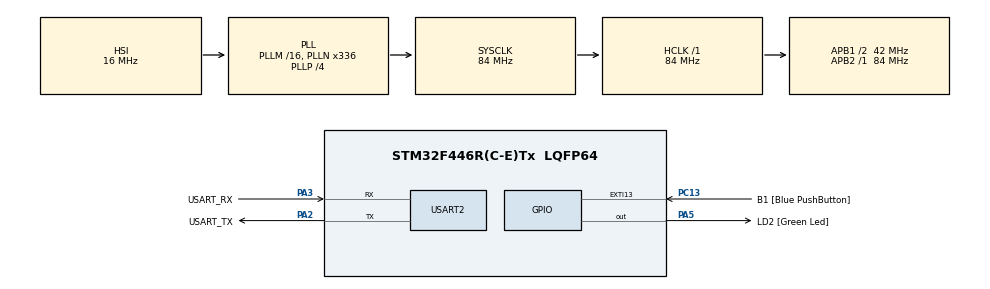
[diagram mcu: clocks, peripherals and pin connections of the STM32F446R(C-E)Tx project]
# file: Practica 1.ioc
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Mcu.Family=STM32F4
Mcu.Name=STM32F446R(C-E)Tx
Mcu.Package=LQFP64
NVIC.PriorityGroup=NVIC_PRIORITYGROUP_0
PA13.GPIO_Label=TMS
PA13.Mode=Serial_Wire
PA13.Signal=SYS_JTMS-SWDIO
PA14.GPIO_Label=TCK
PA14.Mode=Serial_Wire
PA14.Signal=SYS_JTCK-SWCLK
PA2.GPIO_Label=USART_TX
PA2.Mode=Asynchronous
PA2.Signal=USART2_TX
PA3.GPIO_Label=USART_RX
PA3.Mode=Asynchronous
PA3.Signal=USART2_RX
PA5.GPIO_Label=LD2 [Green Led]
PA5.Signal=GPIO_Output
PB3.GPIO_Label=SWO
PB3.Signal=SYS_JTDO-SWO
PC13.GPIO_Label=B1 [Blue PushButton]
PC13.GPIO_ModeDefaultEXTI=GPIO_MODE_IT_FALLING
PC13.Signal=GPXTI13
PC14-OSC32_IN.Mode=LSE-External-Oscillator
PC14-OSC32_IN.Signal=RCC_OSC32_IN
PC15-OSC32_OUT.Mode=LSE-External-Oscillator
PC15-OSC32_OUT.Signal=RCC_OSC32_OUT
PH0-OSC_IN.Mode=HSE-External-Oscillator
PH0-OSC_IN.Signal=RCC_OSC_IN
PH1-OSC_OUT.Mode=HSE-External-Oscillator
PH1-OSC_OUT.Signal=RCC_OSC_OUT
ProjectManager.HeapSize=0x200
ProjectManager.StackSize=0x400
ProjectManager.TargetToolchain=STM32CubeIDE
RCC.48MHZClocksFreq_Value=84000000
RCC.AHBFreq_Value=84000000
RCC.APB1CLKDivider=RCC_HCLK_DIV2
RCC.APB1Freq_Value=42000000
RCC.APB1TimFreq_Value=84000000
RCC.APB2Freq_Value=84000000
RCC.APB2TimFreq_Value=84000000
RCC.CortexFreq_Value=84000000
RCC.FLatency-AdvancedSettings=FLASH_LATENCY_2
RCC.HCLKFreq_Value=84000000
RCC.HSE_VALUE=8000000
RCC.HSI_VALUE=16000000
RCC.PLLN=336
RCC.PLLP=RCC_PLLP_DIV4
RCC.SYSCLKFreq_VALUE=84000000
RCC.SYSCLKSource=RCC_SYSCLKSOURCE_PLLCLK
RCC.USBFreq_Value=168000000
RCC.VCOOutputFreq_Value=336000000
USART2.VirtualMode=VM_ASYNC
board=NUCLEO-F446RE

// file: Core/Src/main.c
/* USER CODE BEGIN Header */
/**
  ******************************************************************************
  * @file           : main.c
  * @brief          : Main program body
  ******************************************************************************
  * @attention
  *
  * Copyright (c) 2025 STMicroelectronics.
  * All rights reserved.
  *
  * This software is licensed under terms that can be found in the LICENSE file
  * in the root directory of this software component.
  * If no LICENSE file comes with this software, it is provided AS-IS.
  *
  ******************************************************************************
  */
/* USER CODE END Header */
#include "main.h"

UART_HandleTypeDef huart2;

void SystemClock_Config(void);
static void MX_GPIO_Init(void);
static void MX_USART2_UART_Init(void);

int main(void)
{

  /* MCU Configuration--------------------------------------------------------*/

  /* Reset of all peripherals, Initializes the Flash interface and the Systick. */
  HAL_Init();

  /* Configure the system clock */
  SystemClock_Config();

  /* Initialize all configured peripherals */
  MX_GPIO_Init();
  MX_USART2_UART_Init();

  /* USER CODE BEGIN 2 */
  uint32_t tiempos[] = {200, 500};
  uint8_t indiceTiempo = 0;

  uint32_t prevMillisLED = 0;
  uint32_t intervaloLED = 200;
  uint8_t ledState = 0;

  uint32_t prevMillisBoton = 0;
  GPIO_PinState botonAnterior = GPIO_PIN_SET; // Estado inicial del botón
  uint8_t botonPresionado = 0;

  /* USER CODE END 2 */

  /* Infinite loop */
  /* USER CODE BEGIN WHILE */
  while (1)
  {

	  while (1)
	  {
	      uint32_t currentMillis = HAL_GetTick();

	      // Manejo del LED (No bloqueante)
	      if (currentMillis - prevMillisLED >= intervaloLED)
	      {
	          prevMillisLED = currentMillis;

	          ledState = !ledState;
	          HAL_GPIO_WritePin(GPIOA, GPIO_PIN_5, ledState);
	      }

	      // Manejo del botón con anti-rebote no bloqueante
	      GPIO_PinState botonActual = HAL_GPIO_ReadPin(GPIOC, GPIO_PIN_13);

	      if (botonActual != botonAnterior)
	      {
	          // Reiniciar el temporizador de debounce
	          prevMillisBoton = currentMillis;
	          botonAnterior = botonActual;
	      }

	      if ((currentMillis - prevMillisBoton) >= 20) // 20 ms debounce
	      {
	          if (botonPresionado == 0 && botonActual == GPIO_PIN_RESET)
	          {
	              botonPresionado = 1;

	              // Acción al presionar el botón:
	              indiceTiempo = (indiceTiempo + 1) % (sizeof(tiempos)/sizeof(tiempos[0]));
	              intervaloLED = tiempos[indiceTiempo];
	          }
	          else if (botonActual == GPIO_PIN_SET)
	          {
	              botonPresionado = 0;
	          }
	      }
	  }

    /* USER CODE END WHILE */

  }
}

void SystemClock_Config(void)
{
  RCC_OscInitTypeDef RCC_OscInitStruct = {0};
  RCC_ClkInitTypeDef RCC_ClkInitStruct = {0};

  /** Configure the main internal regulator output voltage
  */
  __HAL_RCC_PWR_CLK_ENABLE();
  __HAL_PWR_VOLTAGESCALING_CONFIG(PWR_REGULATOR_VOLTAGE_SCALE3);

  /** Initializes the RCC Oscillators according to the specified parameters
  * in the RCC_OscInitTypeDef structure.
  */
  RCC_OscInitStruct.OscillatorType = RCC_OSCILLATORTYPE_HSI;
  RCC_OscInitStruct.HSIState = RCC_HSI_ON;
  RCC_OscInitStruct.HSICalibrationValue = RCC_HSICALIBRATION_DEFAULT;
  RCC_OscInitStruct.PLL.PLLState = RCC_PLL_ON;
  RCC_OscInitStruct.PLL.PLLSource = RCC_PLLSOURCE_HSI;
  RCC_OscInitStruct.PLL.PLLM = 16;
  RCC_OscInitStruct.PLL.PLLN = 336;
  RCC_OscInitStruct.PLL.PLLP = RCC_PLLP_DIV4;
  RCC_OscInitStruct.PLL.PLLQ = 2;
  RCC_OscInitStruct.PLL.PLLR = 2;
  if (HAL_RCC_OscConfig(&RCC_OscInitStruct) != HAL_OK)
  {
    Error_Handler();
  }

  /** Initializes the CPU, AHB and APB buses clocks
  */
  RCC_ClkInitStruct.ClockType = RCC_CLOCKTYPE_HCLK|RCC_CLOCKTYPE_SYSCLK
                              |RCC_CLOCKTYPE_PCLK1|RCC_CLOCKTYPE_PCLK2;
  RCC_ClkInitStruct.SYSCLKSource = RCC_SYSCLKSOURCE_PLLCLK;
  RCC_ClkInitStruct.AHBCLKDivider = RCC_SYSCLK_DIV1;
  RCC_ClkInitStruct.APB1CLKDivider = RCC_HCLK_DIV2;
  RCC_ClkInitStruct.APB2CLKDivider = RCC_HCLK_DIV1;

  if (HAL_RCC_ClockConfig(&RCC_ClkInitStruct, FLASH_LATENCY_2) != HAL_OK)
  {
    Error_Handler();
  }
}

static void MX_USART2_UART_Init(void)
{

  huart2.Instance = USART2;
  huart2.Init.BaudRate = 115200;
  huart2.Init.WordLength = UART_WORDLENGTH_8B;
  huart2.Init.StopBits = UART_STOPBITS_1;
  huart2.Init.Parity = UART_PARITY_NONE;
  huart2.Init.Mode = UART_MODE_TX_RX;
  huart2.Init.HwFlowCtl = UART_HWCONTROL_NONE;
  huart2.Init.OverSampling = UART_OVERSAMPLING_16;
  if (HAL_UART_Init(&huart2) != HAL_OK)
  {
    Error_Handler();
  }

}

static void MX_GPIO_Init(void)
{
  GPIO_InitTypeDef GPIO_InitStruct = {0};

  /* GPIO Ports Clock Enable */
  __HAL_RCC_GPIOC_CLK_ENABLE();
  __HAL_RCC_GPIOH_CLK_ENABLE();
  __HAL_RCC_GPIOA_CLK_ENABLE();
  __HAL_RCC_GPIOB_CLK_ENABLE();

  /*Configure GPIO pin Output Level */
  HAL_GPIO_WritePin(LD2_GPIO_Port, LD2_Pin, GPIO_PIN_RESET);

  /*Configure GPIO pin : B1_Pin */
  GPIO_InitStruct.Pin = B1_Pin;
  GPIO_InitStruct.Mode = GPIO_MODE_IT_FALLING;
  GPIO_InitStruct.Pull = GPIO_NOPULL;
  HAL_GPIO_Init(B1_GPIO_Port, &GPIO_InitStruct);

  /*Configure GPIO pin : LD2_Pin */
  GPIO_InitStruct.Pin = LD2_Pin;
  GPIO_InitStruct.Mode = GPIO_MODE_OUTPUT_PP;
  GPIO_InitStruct.Pull = GPIO_NOPULL;
  GPIO_InitStruct.Speed = GPIO_SPEED_FREQ_LOW;
  HAL_GPIO_Init(LD2_GPIO_Port, &GPIO_InitStruct);

}

void Error_Handler(void)
{
  __disable_irq();
  while (1)
  {
  }
}
